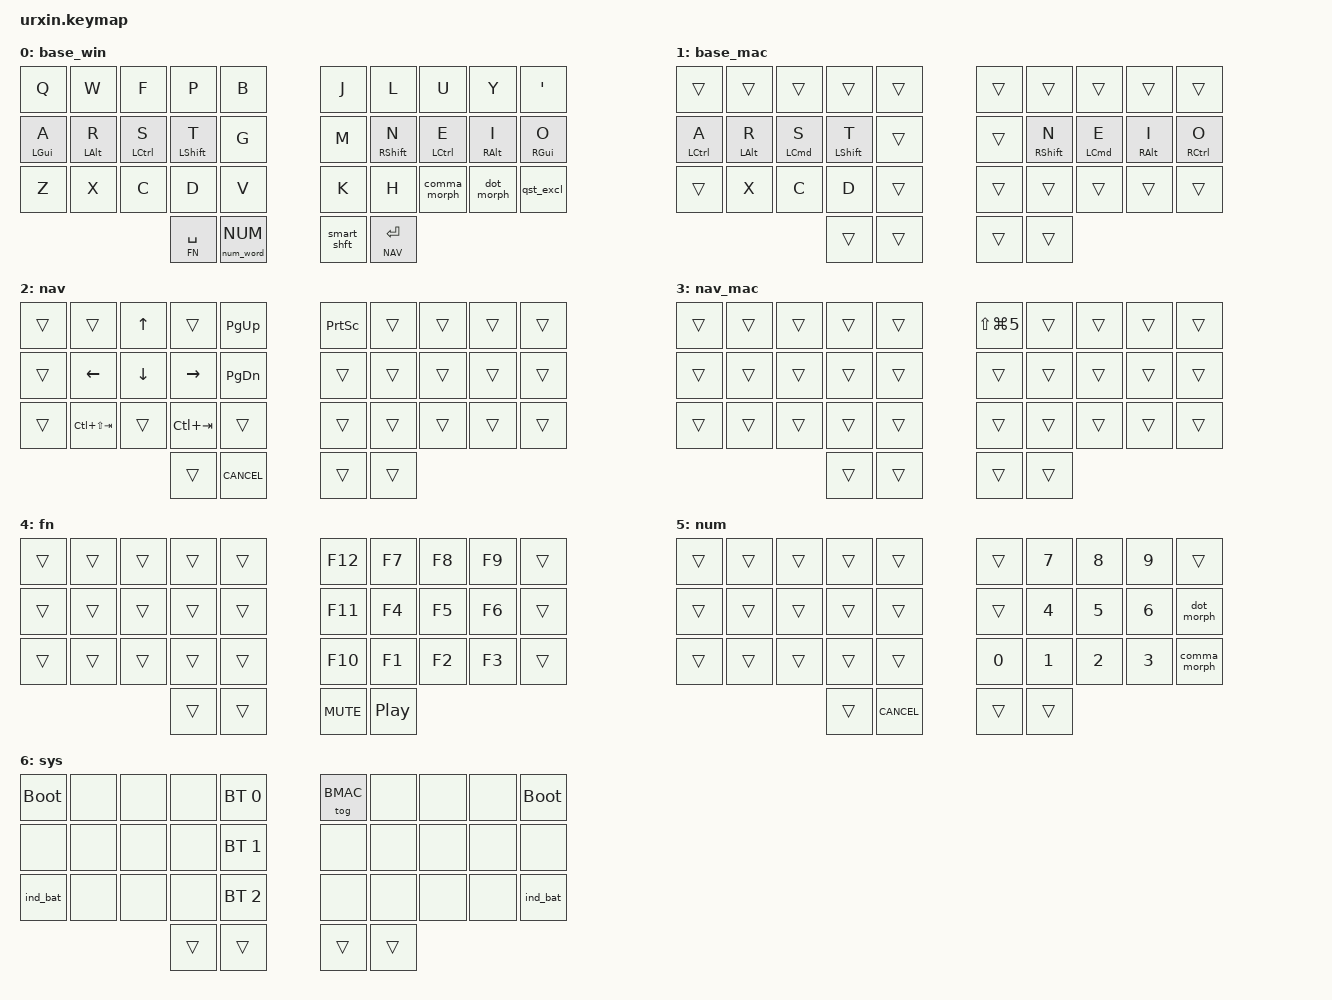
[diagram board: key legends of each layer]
#include <behaviors.dtsi>
#include <behaviors/num_word.dtsi>
#include <dt-bindings/zmk/keys.h>
#include <dt-bindings/zmk/bt.h>

#include "zmk-helpers/helper.h"
#include "zmk-helpers/key-labels/34.h"

#include <behaviors/rgbled_widget.dtsi>

// NOTE: ZMK assigns layer IDs by node definition order, not by these defines.
// Keep the ZMK_LAYER declarations below in this same order. NAVM must sit just
// above NAV (it is a nav variant) and below SYS.
#define BWIN 0
#define BMAC 1
#define NAV  2
#define NAVM 3   // mac-nav: BMAC + NAV; overrides PSCRN with Cmd+Shift+5
#define FN   4
#define NUM  5
#define SYS  6

#define KEYS_L LT0 LT1 LT2 LT3 LT4 LM0 LM1 LM2 LM3 LM4 LB0 LB1 LB2 LB3 LB4
#define KEYS_R RT0 RT1 RT2 RT3 RT4 RM0 RM1 RM2 RM3 RM4 RB0 RB1 RB2 RB3 RB4
#define THUMBS LH0 LH1 RH0 RH1

#define COMBO_TERM_FAST 18
#define COMBO_TERM_SLOW 30

#define COMBO_IDLE_FAST 150
#define COMBO_IDLE_SLOW 50

&sk {
    quick-release;
};

ZMK_HOLD_TAP(hml,
    flavor = "balanced";
    tapping-term-ms = <280>;
    quick-tap-ms = <175>;                // repeat on tap-into-hold
    require-prior-idle-ms = <175>;
    bindings = <&kp>, <&kp>;
    hold-trigger-key-positions = <KEYS_R THUMBS>;
    hold-trigger-on-release;             // delay positional check until key-release
)

ZMK_HOLD_TAP(hmr,
    flavor = "balanced";
    tapping-term-ms = <280>;
    quick-tap-ms = <175>;                // repeat on tap-into-hold
    require-prior-idle-ms = <175>;
    bindings = <&kp>, <&kp>;
    hold-trigger-key-positions = <KEYS_L THUMBS>;
    hold-trigger-on-release;             // delay positional check until key-release
)

// tap: sticky-shift | shift + tap/ double-tap: caps-word | hold: shift
ZMK_MOD_MORPH(smart_shft,
    bindings = <&sk LSHFT>, <&caps_word>;
    mods = <(MOD_LSFT)>;
)

// tap: , | shift + tap: ;
ZMK_MOD_MORPH(comma_morph,
    mods = <(MOD_LSFT|MOD_RSFT)>;
    bindings = <&kp COMMA>, <&kp SEMICOLON>;
)

// tap: . | shift + tap: :
ZMK_MOD_MORPH(dot_morph,
    mods = <(MOD_LSFT|MOD_RSFT)>;
    bindings = <&kp DOT>, <&kp COLON>;
)

// tap: ? | shift + tap: !
ZMK_MOD_MORPH(qst_excl,
    mods = <(MOD_LSFT|MOD_RSFT)>;
    bindings = <&kp QMARK>, <&kp EXCL>;
)

// tap: ( | shift + tap: <
ZMK_MOD_MORPH(lpar_lt,
    mods = <(MOD_LSFT|MOD_RSFT)>;
    bindings = <&kp LPAR>, <&kp LT>;
)

// tap: ) | shift + tap: >
ZMK_MOD_MORPH(rpar_gt,
    mods = <(MOD_LSFT|MOD_RSFT)>;
    bindings = <&kp RPAR>, <&kp GT>;
)



/* Vertical combos - left hand */
ZMK_COMBO(at,      &kp AT,      LT3 LM3, BWIN BMAC NAV NUM NAVM, COMBO_TERM_SLOW, COMBO_IDLE_SLOW)
ZMK_COMBO(hash,    &kp HASH,    LT2 LM2, BWIN BMAC NAV NUM NAVM, COMBO_TERM_SLOW, COMBO_IDLE_SLOW)
ZMK_COMBO(dollar,  &kp DOLLAR,  LT1 LM1, BWIN BMAC NAV NUM NAVM, COMBO_TERM_SLOW, COMBO_IDLE_SLOW)
ZMK_COMBO(percent, &kp PERCENT, LT0 LM0, BWIN BMAC NAV NUM NAVM, COMBO_TERM_SLOW, COMBO_IDLE_SLOW)

ZMK_COMBO(grave, &kp GRAVE, LM3 LB3, BWIN BMAC NAV NUM NAVM, COMBO_TERM_SLOW, COMBO_IDLE_SLOW)
ZMK_COMBO(bslh,  &kp BSLH,  LM2 LB2, BWIN BMAC NAV NUM NAVM, COMBO_TERM_SLOW, COMBO_IDLE_SLOW)
ZMK_COMBO(equal, &kp EQUAL, LM1 LB1, BWIN BMAC NAV NUM NAVM, COMBO_TERM_SLOW, COMBO_IDLE_SLOW)
ZMK_COMBO(tilde, &kp TILDE, LM0 LB0, BWIN BMAC NAV NUM NAVM, COMBO_TERM_SLOW, COMBO_IDLE_SLOW)

/* Vertical combos - right hand */
ZMK_COMBO(caret, &kp CARET, RT0 RM0, BWIN BMAC NAV NUM NAVM, COMBO_TERM_SLOW, COMBO_IDLE_SLOW)
ZMK_COMBO(amps,  &kp AMPS,  RT1 RM1, BWIN BMAC NAV NUM NAVM, COMBO_TERM_SLOW, COMBO_IDLE_SLOW)
ZMK_COMBO(astrk, &kp ASTRK, RT2 RM2, BWIN BMAC NAV NUM NAVM, COMBO_TERM_SLOW, COMBO_IDLE_SLOW)
ZMK_COMBO(plus,  &kp PLUS,  RT3 RM3, BWIN BMAC NAV NUM NAVM, COMBO_TERM_SLOW, COMBO_IDLE_SLOW)

ZMK_COMBO(under, &kp UNDER, RM0 RB0, BWIN BMAC NAV NUM NAVM, COMBO_TERM_SLOW, COMBO_IDLE_SLOW)
ZMK_COMBO(minus, &kp MINUS, RM1 RB1, BWIN BMAC NAV NUM NAVM, COMBO_TERM_SLOW, COMBO_IDLE_SLOW)
ZMK_COMBO(slash, &kp FSLH,  RM2 RB2, BWIN BMAC NAV NUM NAVM, COMBO_TERM_SLOW, COMBO_IDLE_SLOW)
ZMK_COMBO(pipe,  &kp PIPE,  RM3 RB3, BWIN BMAC NAV NUM NAVM, COMBO_TERM_SLOW, COMBO_IDLE_SLOW)



/* Horizontal combos - left hand */
ZMK_COMBO(esc,   &kp ESC,   LT2 LT3, BWIN BMAC NAV NUM NAVM, COMBO_TERM_FAST, COMBO_IDLE_FAST)
ZMK_COMBO(enter, &kp ENTER, LT1 LT2, BWIN BMAC NAV NUM NAVM, COMBO_TERM_FAST, COMBO_IDLE_FAST)

ZMK_COMBO(tab,      &kp TAB,  LM1 LM2, BWIN BMAC NAV NUM NAVM, COMBO_TERM_FAST, COMBO_IDLE_FAST)
ZMK_COMBO(bspc_lft, &kp BSPC, LM2 LM3, BWIN BMAC NAV NUM NAVM, COMBO_TERM_FAST, COMBO_IDLE_FAST)

ZMK_COMBO(w_paste, &kp LC(V), LB1 LB2, BWIN, COMBO_TERM_FAST, COMBO_IDLE_FAST)
ZMK_COMBO(w_copy,  &kp LC(C), LB2 LB3, BWIN, COMBO_TERM_FAST, COMBO_IDLE_FAST)
ZMK_COMBO(w_cut,   &kp LC(X), LB1 LB3, BWIN, COMBO_TERM_FAST, COMBO_IDLE_FAST)

ZMK_COMBO(m_paste, &kp LG(V), LB1 LB2, BMAC, COMBO_TERM_FAST, COMBO_IDLE_FAST)
ZMK_COMBO(m_copy,  &kp LG(C), LB2 LB3, BMAC, COMBO_TERM_FAST, COMBO_IDLE_FAST)
ZMK_COMBO(m_cut,   &kp LG(X), LB1 LB3, BMAC, COMBO_TERM_FAST, COMBO_IDLE_FAST)

/* Horizontal combos - right hand */
ZMK_COMBO(bspc, &kp BSPC, RT1 RT2, BWIN BMAC NAV NUM NAVM, COMBO_TERM_FAST, COMBO_IDLE_FAST)
ZMK_COMBO(bspc_alt, &kp BSPC, RT2 RT3, BWIN BMAC NAV NUM NAVM, COMBO_TERM_FAST, COMBO_IDLE_FAST)

ZMK_COMBO(lpar, &lpar_lt, RM1 RM2, BWIN BMAC NAV NUM NAVM, COMBO_TERM_FAST, COMBO_IDLE_FAST)
ZMK_COMBO(rpar, &rpar_gt, RM2 RM3, BWIN BMAC NAV NUM NAVM, COMBO_TERM_FAST, COMBO_IDLE_FAST)


ZMK_COMBO(lbkt, &kp LBKT, RB1 RB2, BWIN BMAC NAV NUM NAVM, COMBO_TERM_FAST, COMBO_IDLE_FAST)
ZMK_COMBO(rbkt, &kp RBKT, RB2 RB3, BWIN BMAC NAV NUM NAVM, COMBO_TERM_FAST, COMBO_IDLE_FAST)

ZMK_COMBO(w_undo, &kp LC(Z), RB3 RB4, BWIN, COMBO_TERM_FAST, COMBO_IDLE_FAST)
ZMK_COMBO(m_undo, &kp LG(Z), RB3 RB4, BMAC, COMBO_TERM_FAST, COMBO_IDLE_FAST)

/* Horizontal combos - both hands */
ZMK_COMBO(sys, &tog SYS, LB4 RB4, BWIN BMAC SYS, 50, 150)

ZMK_COMBO(bt_clear, &bt BT_CLR, LT1 LT2, SYS, COMBO_TERM_FAST, COMBO_IDLE_FAST)
ZMK_COMBO(bt_clear_all, &bt BT_CLR_ALL, LT1 LT3, SYS, COMBO_TERM_FAST, COMBO_IDLE_FAST)

/* Activate NAVM whenever mac mode and nav are both active, so the screenshot key
   can send Cmd+Shift+5 instead of PSCRN. NAVM must stay above NAV. */
ZMK_CONDITIONAL_LAYER(mac_nav, BMAC NAV, NAVM)


ZMK_LAYER(base_win,
    &kp Q       &kp W       &kp F        &kp P        &kp B        &kp J &kp L        &kp U        &kp Y       &kp SQT
    &hml LGUI A &hml LALT R &hml LCTRL S &hml LSHFT T &kp G        &kp M &hmr RSHFT N &hmr LCTRL E &hmr RALT I &hmr RGUI O 
    &kp Z       &kp X       &kp C        &kp D        &kp V        &kp K &kp H        &comma_morph &dot_morph  &qst_excl
                                 &lt FN SPACE &num_word NUM        &smart_shft &lt NAV ENTER
)

ZMK_LAYER(base_mac,
    &trans       &trans      &trans      &trans       &trans        &trans &trans       &trans      &trans      &trans
    &hml LCTRL A &hml LALT R &hml LCMD S &hml LSHFT T &trans        &trans &hmr RSHFT N &hmr LCMD E &hmr RALT I &hmr RCTRL O 
    &trans       &kp X       &kp C        &kp D       &trans        &trans &trans       &trans      &trans      &trans
                                               &trans &trans        &trans &trans
)

ZMK_LAYER(nav,
    &trans &trans          &kp UP   &trans      &kp PG_UP        &kp PSCRN &trans &trans &trans &trans
    &trans &kp LEFT        &kp DOWN &kp RIGHT   &kp PG_DN        &trans    &trans &trans &trans &trans 
    &trans &kp LC(LS(TAB)) &trans   &kp LC(TAB) &trans           &trans    &trans &trans &trans &trans
                                      &trans &kp K_CANCEL        &trans &trans
)

// Active only when BMAC + NAV are both on. Overrides PSCRN (RT0) with macOS's
// default screenshot shortcut, Cmd+Shift+5. Must stay between nav and sys.
ZMK_LAYER(nav_mac,
    &trans &trans &trans &trans &trans        &kp LS(LG(N5)) &trans &trans &trans &trans
    &trans &trans &trans &trans &trans        &trans &trans &trans &trans &trans
    &trans &trans &trans &trans &trans        &trans &trans &trans &trans &trans
                                      &trans &trans        &trans &trans
)

ZMK_LAYER(fn,
    &trans &trans &trans &trans &trans        &kp F12 &kp F7 &kp F8 &kp F9 &trans
    &trans &trans &trans &trans &trans        &kp F11 &kp F4 &kp F5 &kp F6 &trans 
    &trans &trans &trans &trans &trans        &kp F10 &kp F1 &kp F2 &kp F3 &trans
                         &trans &trans        &kp C_MUTE &kp C_PP
)

ZMK_LAYER(num,
    &trans &trans &trans &trans &trans        &trans &kp N7 &kp N8 &kp N9 &trans
    &trans &trans &trans &trans &trans        &trans &kp N4 &kp N5 &kp N6 &dot_morph 
    &trans &trans &trans &trans &trans        &kp N0 &kp N1 &kp N2 &kp N3 &comma_morph
                   &trans &kp K_CANCEL        &trans &trans
)

ZMK_LAYER(sys,
    &bootloader &none &none &none &bt BT_SEL 0        &tog BMAC &none &none &none &bootloader
    &none       &none &none &none &bt BT_SEL 1        &none     &none &none &none &none 
    &ind_bat    &none &none &none &bt BT_SEL 2        &none     &none &none &none &ind_bat
                                 &trans &trans        &trans    &trans
)
